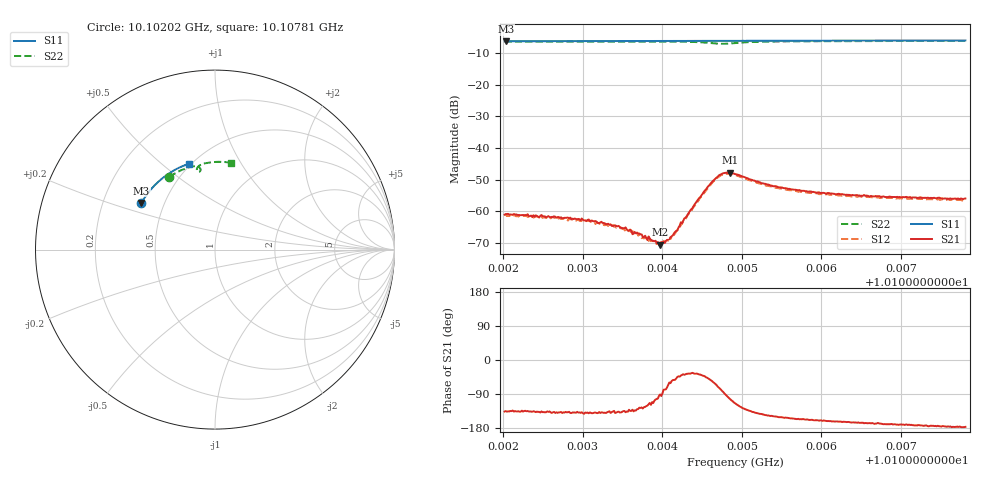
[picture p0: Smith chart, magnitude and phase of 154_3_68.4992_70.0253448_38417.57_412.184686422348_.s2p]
#  HZ  S  RI  R  50.00
! Rohde & Schwarz Vector Network Analyzer
! Rohde-Schwarz,ZNB20-2Port,1311601062101988,3.16
! Created: UTC 3/20/2024, 4:55:25 PM
! freq[Hz]  re:S11  im:S11  re:S21  im:S21  re:S12  im:S12  re:S22  im:S22
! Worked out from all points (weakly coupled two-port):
!   401 points, 10.10202 GHz to 10.10781 GHz, reference 50 ohm
!   highest |S21| = -47.81 dB at 10.10486 GHz (marker M1); lowest = -70.6 dB at 10.10397 GHz (marker M2)
!   lowest |S11| = -6.3 dB at 10.10203 GHz (marker M3), VSWR 2.89, Z = 18.6 + j12.7 ohm
!   |S11| at or under -10 dB: nowhere
!   |S22| runs from -7.1 to -6.2 dB; largest |S21 - S12| = 0.0004
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1.0102019e10  -0.4102 0.2594  -0.000634 -0.000612  -0.000568 -0.000657  -0.2537 0.4049
1.0102033e10  -0.4096 0.2602  -0.000635 -0.000635  -0.00056 -0.000692  -0.2529 0.4054
1.0102641e10  -0.3902 0.2917  -0.000609 -0.000565  -0.000527 -0.000598  -0.2192 0.4265
1.0102989e10  -0.3781 0.309  -0.000569 -0.000512  -0.000501 -0.000496  -0.1988 0.4374
1.0103076e10  -0.3748 0.3133  -0.000571 -0.00047  -0.00051 -0.000486  -0.1936 0.4398
1.0103438e10  -0.3612 0.3306  -0.000422 -0.000393  -0.000365 -0.000422  -0.1712 0.4498
1.0103655e10  -0.3526 0.3405  -0.000318 -0.000344  -0.000285 -0.000354  -0.1569 0.4553
1.0103713e10  -0.3503 0.3432  -0.000259 -0.000359  -0.000238 -0.000354  -0.1529 0.4565
1.0103785e10  -0.3473 0.3463  -0.000227 -0.00034  -0.000184 -0.000339  -0.148 0.4581
1.0103959e10  -0.3401 0.3541  -2.62e-05 -0.000312  -2.08e-05 -0.000293  -0.1354 0.4616
1.0103974e10  -0.3395 0.3547  -3.49e-06 -0.000297  8.53e-06 -0.00028  -0.1343 0.4618
1.0104061e10  -0.3359 0.3585  0.000107 -0.000336  0.000136 -0.000297  -0.1277 0.4633
1.0104133e10  -0.3328 0.3617  0.000249 -0.000331  0.000285 -0.000305  -0.1217 0.464
1.0104437e10  -0.3194 0.3746  0.00117 -0.000851  0.00117 -0.000727  -0.0942 0.4617
1.010464e10  -0.3103 0.3827  0.00159 -0.00257  0.00177 -0.00234  -0.0801 0.4446
1.0104741e10  -0.3058 0.3867  0.00072 -0.00378  0.00101 -0.00358  -0.0861 0.4343
1.0104857e10  -0.3006 0.3911  -0.000986 -0.00395  -0.000612 -0.00385  -0.0986 0.4378
1.0104915e10  -0.2978 0.3934  -0.00158 -0.00352  -0.00123 -0.00351  -0.1012 0.444
1.0105378e10  -0.2757 0.4108  -0.00214 -0.00137  -0.00193 -0.00149  -0.0736 0.475
1.0105885e10  -0.2504 0.4281  -0.00186 -0.000761  -0.00175 -0.000851  -0.0372 0.4845
1.0106855e10  -0.1992 0.4566  -0.00168 -0.000311  -0.00156 -0.000442  0.0279 0.4888
1.0107811e10  -0.1455 0.4784  -0.00158 -9.76e-05  -0.0015 -0.000236  0.0897 0.4839
